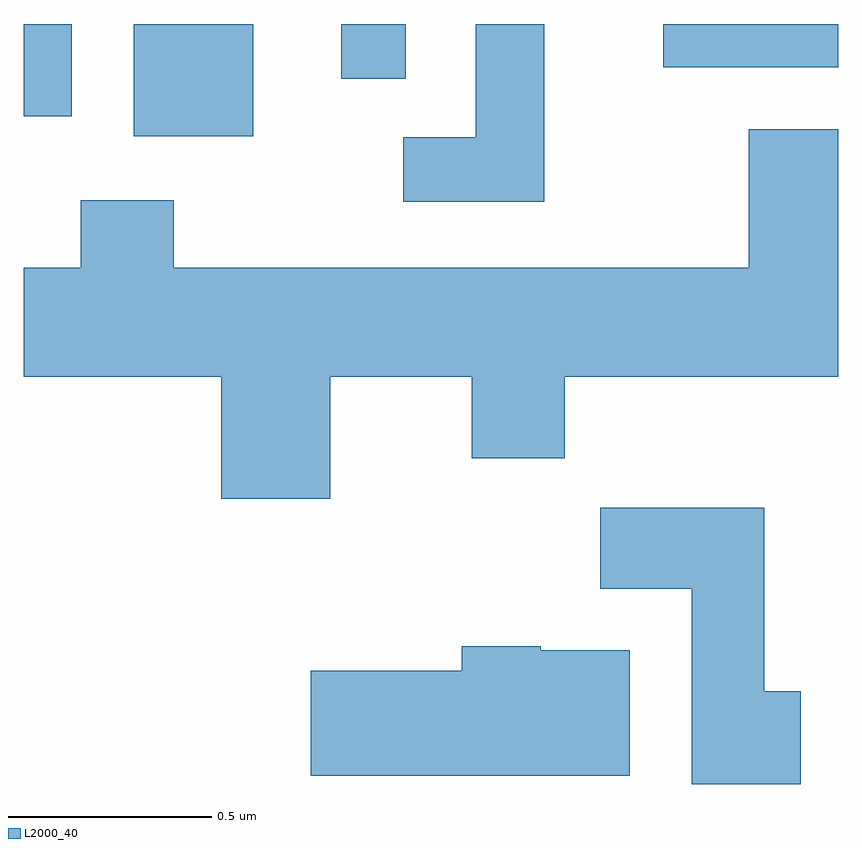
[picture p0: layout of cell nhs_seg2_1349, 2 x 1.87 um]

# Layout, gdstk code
import gdstk
lib = gdstk.Library(unit=1e-6, precision=1e-09)
def R(c, l, rs):  # rectangles x0, y0, x1, y1
    for r in rs: c.add(gdstk.rectangle(r[:2], r[2:], *l))
def P(c, l, *ps):  # polygons
    for p in ps: c.add(gdstk.Polygon(p, *l))
L2000_40 = (2000, 40)

nhs_seg2_1349 = lib.new_cell('nhs_seg2_1349')
R(nhs_seg2_1349, L2000_40, [(194.881,1095.526,195.174,1095.802), (194.611,1095.576,194.729,1095.802), (195.391,1095.668,195.549,1095.802), (196.181,1095.696,196.611,1095.802)])
P(nhs_seg2_1349, L2000_40, [(195.889,1095.802),(195.721,1095.802),(195.721,1095.524),(195.543,1095.524),(195.543,1095.366),(195.889,1095.366)],
  [(195.364,1094.936),(195.711,1094.936),(195.711,1094.736),(195.939,1094.736),(195.939,1094.936),(196.611,1094.936),(196.611,1095.544),(196.391,1095.544),(196.391,1095.204),(194.979,1095.204),(194.979,1095.369),(194.751,1095.369),(194.751,1095.204),(194.611,1095.204),(194.611,1094.936),(195.096,1094.936),(195.096,1094.636),(195.364,1094.636)],
  [(196.519,1094.164),(196.429,1094.164),(196.429,1094.614),(196.026,1094.614),(196.026,1094.416),(196.251,1094.416),(196.251,1093.936),(196.519,1093.936)],
  [(196.099,1094.264),(195.88,1094.264),(195.88,1094.274),(195.686,1094.274),(195.686,1094.214),(195.316,1094.214),(195.316,1093.956),(196.099,1093.956)])

lib.write_gds('nhs_seg2_1349.gds')
